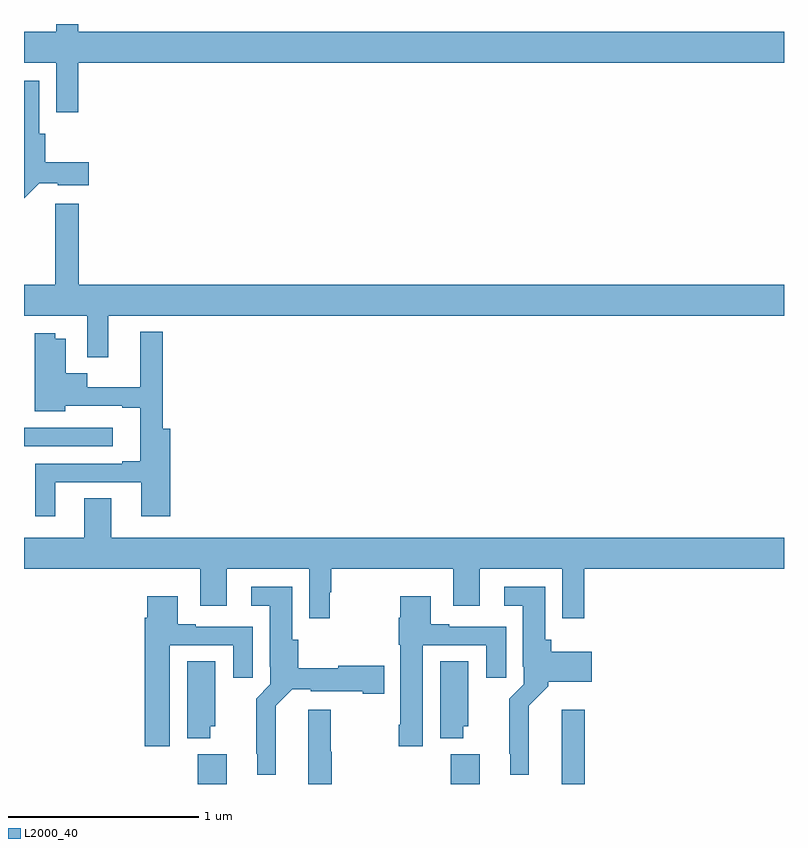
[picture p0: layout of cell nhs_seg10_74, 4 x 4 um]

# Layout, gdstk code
import gdstk
lib = gdstk.Library(unit=1e-6, precision=1e-09)
def R(c, l, rs):  # rectangles x0, y0, x1, y1
    for r in rs: c.add(gdstk.rectangle(r[:2], r[2:], *l))
def P(c, l, *ps):  # polygons
    for p in ps: c.add(gdstk.Polygon(p, *l))
L2000_40 = (2000, 40)

nhs_seg10_74 = lib.new_cell('nhs_seg10_74')
R(nhs_seg10_74, L2000_40, [(113.915,1316.5,114.067,1316.656), (115.247,1316.5,115.399,1316.656), (115.829,1316.5,115.952,1316.89), (113,1318.278,113.467,1318.374)])
P(nhs_seg10_74, L2000_40, [(113.285,1320.296),(117,1320.296),(117,1320.46),(113.285,1320.46),(113.285,1320.5),(113.169,1320.5),(113.169,1320.46),(113,1320.46),(113,1320.296),(113.169,1320.296),(113.169,1320.036),(113.285,1320.036)],
  [(113.079,1319.663),(113.178,1319.663),(113.178,1319.651),(113.341,1319.651),(113.341,1319.773),(113.111,1319.773),(113.111,1319.922),(113.08,1319.922),(113.08,1320.202),(113,1320.202),(113,1319.583)],
  [(113.443,1318.964),(117,1318.964),(117,1319.128),(113.288,1319.128),(113.288,1319.554),(113.165,1319.554),(113.165,1319.128),(113,1319.128),(113,1318.964),(113.333,1318.964),(113.333,1318.746),(113.443,1318.746)],
  [(113.164,1318.089),(113.618,1318.089),(113.618,1317.909),(113.771,1317.909),(113.771,1318.369),(113.731,1318.369),(113.731,1318.879),(113.612,1318.879),(113.612,1318.588),(113.332,1318.588),(113.332,1318.663),(113.221,1318.663),(113.221,1318.843),(113.164,1318.843),(113.164,1318.873),(113.057,1318.873),(113.057,1318.463),(113.217,1318.463),(113.217,1318.491),(113.516,1318.491),(113.516,1318.479),(113.612,1318.479),(113.612,1318.198),(113.516,1318.198),(113.516,1318.185),(113.06,1318.185),(113.06,1317.909),(113.164,1317.909)],
  [(114.61,1317.51),(114.617,1317.51),(114.617,1317.632),(115.259,1317.632),(115.259,1317.438),(115.399,1317.438),(115.399,1317.632),(115.833,1317.632),(115.833,1317.372),(115.949,1317.372),(115.949,1317.632),(117,1317.632),(117,1317.796),(113.458,1317.796),(113.458,1318.004),(113.318,1318.004),(113.318,1317.796),(113,1317.796),(113,1317.632),(113.927,1317.632),(113.927,1317.438),(114.067,1317.438),(114.067,1317.632),(114.501,1317.632),(114.501,1317.372),(114.61,1317.372)],
  [(114.325,1316.912),(114.411,1316.999),(114.51,1316.999),(114.51,1316.987),(114.782,1316.987),(114.782,1316.975),(114.895,1316.975),(114.895,1317.122),(114.654,1317.122),(114.654,1317.109),(114.443,1317.109),(114.443,1317.258),(114.412,1317.258),(114.412,1317.538),(114.195,1317.538),(114.195,1317.437),(114.293,1317.437),(114.293,1317.118),(114.297,1317.118),(114.297,1317.024),(114.223,1316.95),(114.223,1316.659),(114.227,1316.659),(114.227,1316.549),(114.325,1316.549)],
  [(115.657,1316.912),(115.758,1317.014),(115.758,1317.038),(115.987,1317.038),(115.987,1317.196),(115.775,1317.196),(115.775,1317.258),(115.744,1317.258),(115.744,1317.538),(115.527,1317.538),(115.527,1317.437),(115.625,1317.437),(115.625,1317.118),(115.629,1317.118),(115.629,1317.024),(115.555,1316.95),(115.555,1316.659),(115.559,1316.659),(115.559,1316.549),(115.657,1316.549)],
  [(113.767,1317.231),(114.101,1317.231),(114.101,1317.06),(114.205,1317.06),(114.205,1317.327),(113.905,1317.327),(113.905,1317.34),(113.809,1317.34),(113.809,1317.487),(113.648,1317.487),(113.648,1317.374),(113.636,1317.374),(113.636,1316.7),(113.767,1316.7)],
  [(115.099,1317.231),(115.433,1317.231),(115.433,1317.06),(115.537,1317.06),(115.537,1317.327),(115.237,1317.327),(115.237,1317.34),(115.141,1317.34),(115.141,1317.487),(114.98,1317.487),(114.98,1317.374),(114.973,1317.374),(114.973,1317.234),(114.98,1317.234),(114.98,1316.812),(114.973,1316.812),(114.973,1316.7),(115.099,1316.7)],
  [(115.312,1316.805),(115.339,1316.805),(115.339,1317.146),(115.19,1317.146),(115.19,1316.741),(115.312,1316.741)],
  [(113.98,1316.805),(114.007,1316.805),(114.007,1317.146),(113.858,1317.146),(113.858,1316.741),(113.98,1316.741)],
  [(114.62,1316.669),(114.615,1316.669),(114.615,1316.89),(114.497,1316.89),(114.497,1316.5),(114.62,1316.5)])

lib.write_gds('nhs_seg10_74.gds')
